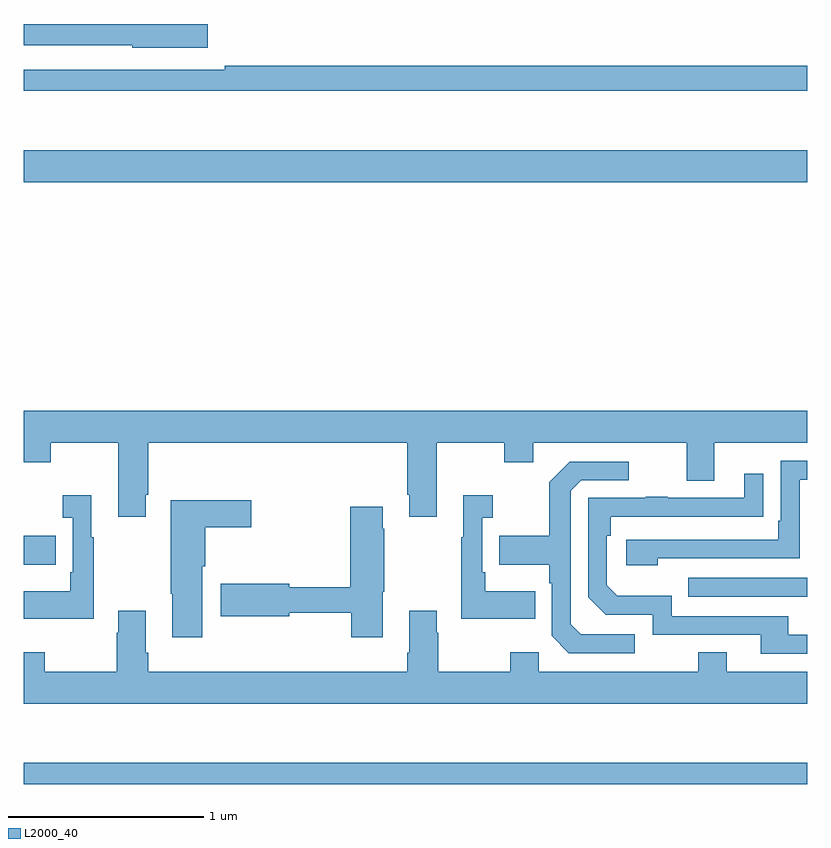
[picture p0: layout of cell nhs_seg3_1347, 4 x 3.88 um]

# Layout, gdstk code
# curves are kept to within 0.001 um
import gdstk
lib = gdstk.Library(unit=1e-6, precision=1e-09)
def R(c, l, rs):  # rectangles x0, y0, x1, y1
    for r in rs: c.add(gdstk.rectangle(r[:2], r[2:], *l))
def P(c, l, *ps):  # polygons
    for p in ps: c.add(gdstk.Polygon(p, *l))
L2000_40 = (2000, 40)

nhs_seg3_1347 = lib.new_cell('nhs_seg3_1347')
R(nhs_seg3_1347, L2000_40, [(181,688.518,185,688.627), (184.393,689.475,185,689.571), (181,689.639,181.163,689.787), (181,691.592,185,691.756)])
P(nhs_seg3_1347, L2000_40, [(181.939,692.4),(181,692.4),(181,692.292),(181.554,692.292),(181.554,692.279),(181.939,692.279)],
  [(185,692.186),(182.026,692.186),(182.026,692.166),(181,692.166),(181,692.058),(185,692.058)],
  [(181.621,689.995),(181.634,689.995),(181.634,690.26),(182.957,690.26),(182.957,689.995),(182.969,689.995),(182.969,689.883),(183.109,689.883),(183.109,690.26),(183.454,690.26),(183.454,690.161),(183.601,690.161),(183.601,690.26),(184.385,690.26),(184.385,690.066),(184.525,690.066),(184.525,690.26),(185,690.26),(185,690.424),(181,690.424),(181,690.161),(181.137,690.161),(181.137,690.26),(181.481,690.26),(181.481,689.883),(181.621,689.883)],
  [(184.238,689.67),(184.962,689.67),(184.962,690.072),(185,690.072),(185,690.168),(184.866,690.168),(184.866,689.863),(184.853,689.863),(184.853,689.766),(184.077,689.766),(184.077,689.636),(184.238,689.636)],
  [(184.12,689.283),(183.843,689.283),(183.792,689.334),(183.792,690.015),(183.846,690.069),(184.09,690.069),(184.09,690.165),(183.789,690.165),(183.684,690.059),(183.684,689.787),(183.427,689.787),(183.427,689.639),(183.684,689.639),(183.684,689.543),(183.696,689.543),(183.696,689.274),(183.783,689.187),(184.12,689.187)],
  [(185,689.28),(184.903,689.28),(184.903,689.376),(184.308,689.376),(184.308,689.479),(184.031,689.479),(183.978,689.532),(183.978,689.786),(183.998,689.786),(183.998,689.883),(184.775,689.884),(184.775,690.103),(184.679,690.103),(184.679,689.979),(184.289,689.979),(184.289,689.984),(184.177,689.984),(184.177,689.979),(183.882,689.979),(183.882,689.472),(183.972,689.382),(184.212,689.382),(184.212,689.28),(184.763,689.28),(184.763,689.184),(185,689.184)],
  [(181.357,689.779),(181.345,689.779),(181.345,689.992),(181.197,689.992),(181.197,689.879),(181.248,689.879),(181.248,689.599),(181.236,689.599),(181.236,689.503),(181,689.503),(181,689.363),(181.357,689.363)],
  [(183.611,689.503),(183.355,689.503),(183.355,689.599),(183.342,689.599),(183.342,689.879),(183.394,689.879),(183.394,689.992),(183.245,689.992),(183.245,689.779),(183.234,689.779),(183.234,689.363),(183.611,689.363)],
  [(181.912,689.629),(181.925,689.629),(181.925,689.83),(182.161,689.83),(182.161,689.967),(181.75,689.967),(181.75,689.491),(181.757,689.491),(181.757,689.268),(181.912,689.268)],
  [(182.833,689.499),(182.841,689.499),(182.841,689.822),(182.833,689.822),(182.833,689.935),(182.666,689.935),(182.666,689.522),(182.356,689.522),(182.356,689.541),(182.004,689.541),(182.004,689.375),(182.356,689.375),(182.356,689.394),(182.671,689.394),(182.671,689.268),(182.833,689.268)],
  [(185,689.092),(184.591,689.092),(184.591,689.191),(184.444,689.191),(184.444,689.092),(183.63,689.092),(183.63,689.191),(183.484,689.191),(183.484,689.092),(183.117,689.092),(183.117,689.291),(183.109,689.291),(183.109,689.404),(182.969,689.404),(182.969,689.188),(182.957,689.188),(182.957,689.092),(181.634,689.092),(181.634,689.188),(181.621,689.188),(181.621,689.404),(181.481,689.404),(181.481,689.291),(181.474,689.291),(181.474,689.092),(181.107,689.092),(181.107,689.191),(181,689.191),(181,688.928),(185,688.928)])

lib.write_gds('nhs_seg3_1347.gds')
